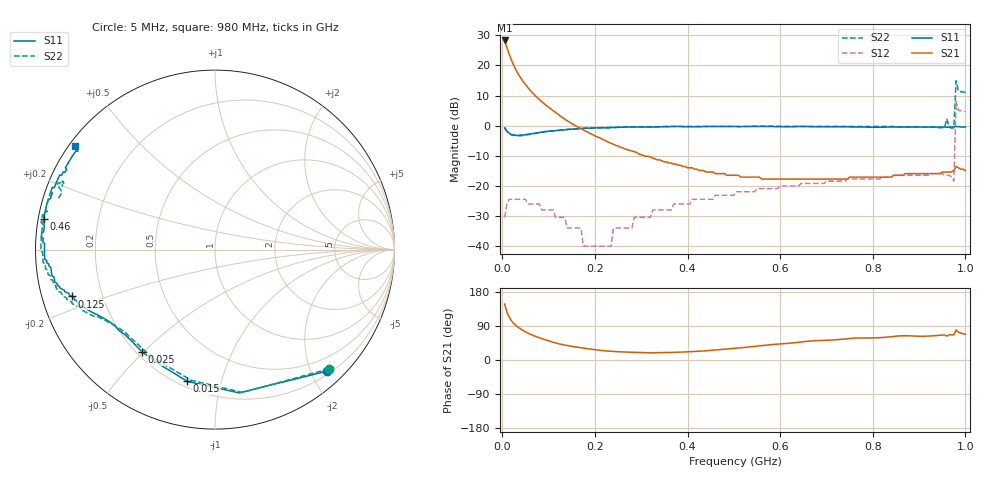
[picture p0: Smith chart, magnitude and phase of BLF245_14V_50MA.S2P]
# HZ S MA R 50
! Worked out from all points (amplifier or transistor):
!   200 points, 5 MHz to 1 GHz, reference 50 ohm
!   highest |S21| = 28.3 dB at 5 MHz (marker M1)
!   |S21| within 3 dB of that: start of sweep to 11.41 MHz
!   unconditionally stable (mu >= 1): 174.1 MHz to 199.1 MHz; 200.6 MHz to 236.2 MHz; 602.5 MHz to 955.6 MHz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
!   at 170 MHz: K = 0.22, MSG = 16.5 dB, |S12| = -34.0 dB
!   at 505 MHz: K = 0.82, MSG = 2.7 dB, |S12| = -21.9 dB
!   at 1 GHz: K = -2.26, MSG = -9.8 dB, |S12| = 4.8 dB
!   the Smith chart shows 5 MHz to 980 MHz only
!   S11 on the Smith chart (normalised r, x): 5 MHz: 0.26, -2.25; 15 MHz: 0.23, -0.78; 25 MHz: 0.22, -0.50; 125 MHz: 0.09, -0.16; 460 MHz: 0.02, +0.09; 980 MHz: 0.02, +0.33
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5000000  0.92 -47.4  25.96 147.8  0.03 58.6  0.92 -46.3
1e7  0.81 -80.4  19.77 126.7  0.05 37.7  0.81 -79.2
1.5e7  0.75 -101.9  15.25 112.9  0.06 24.4  0.74 -100.3
2e7  0.71 -116.0  12.1 103.2  0.06 15.8  0.7 -113.5
2.5e7  0.7 -125.4  9.87 96.0  0.06 9.2  0.69 -122.9
4e7  0.7 -140.1  6.16 81.5  0.06 -3.7  0.68 -137.5
6e7  0.73 -148.6  3.88 68.2  0.05 -14.1  0.72 -146.0
8.5e7  0.78 -154.2  2.51 56.6  0.04 -22.0  0.78 -152.1
1.25e8  0.84 -161.9  1.45 41.9  0.03 -27.5  0.85 -159.2
1.75e8  0.9 -167.9  0.85 31.4  0.01 -8.8  0.9 -165.6
3.4e8  0.96 177.6  0.27 19.3  0.04 85.7  0.96 -178.8
4.6e8  0.97 170.0  0.16 26.4  0.07 86.4  0.97 174.8
5.05e8  0.97 167.5  0.15 31.1  0.08 84.6  0.97 172.7
6.7e8  0.96 158.6  0.13 50.5  0.11 81.5  0.97 165.8
8.35e8  0.95 151.1  0.14 60.8  0.14 80.3  0.97 159.4
9.5e8  0.95 144.9  0.17 65.8  0.16 74.2  0.93 155.9
9.6e8  0.94 144.3  0.17 63.0  0.15 -142.4  1.3 -171.4
9.65e8  0.95 144.2  0.17 66.4  0.15 75.0  0.94 158.0
9.75e8  0.95 143.7  0.18 66.2  0.12 69.6  0.92 162.5
9.8e8  0.97 143.3  0.21 79.3  2.54 41.9  5.56 44.3
9.85e8  0.96 143.2  0.2 73.3  1.79 42.9  3.73 48.8
1e9  0.95 142.7  0.18 67.8  1.73 41.9  3.58 47.5
